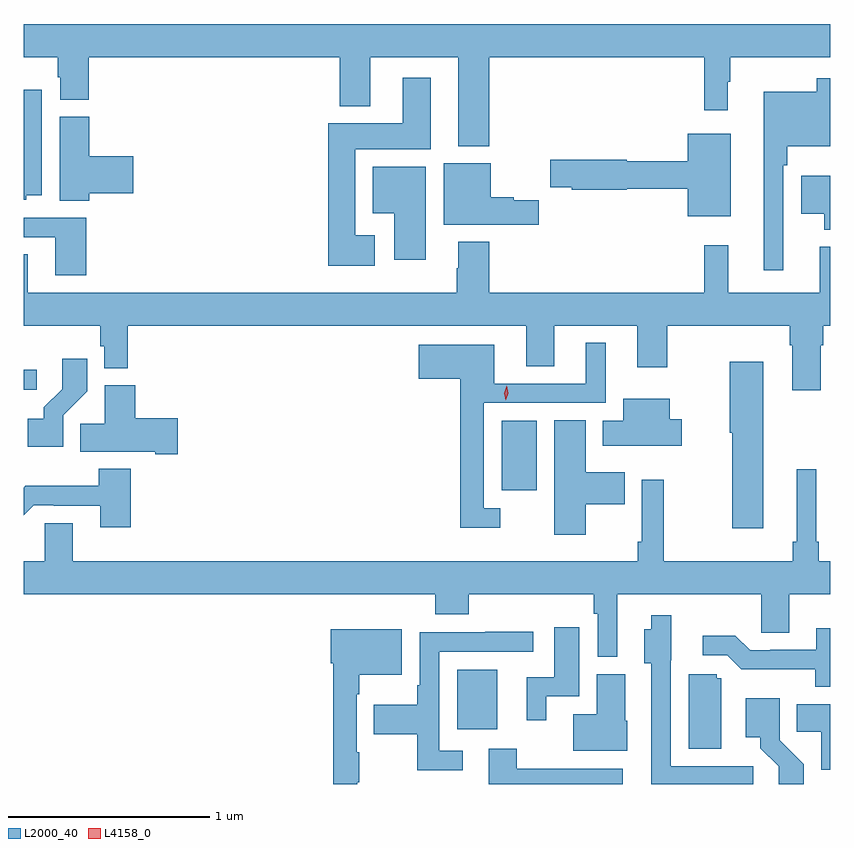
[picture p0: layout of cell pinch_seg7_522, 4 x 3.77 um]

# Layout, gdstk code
import gdstk
lib = gdstk.Library(unit=1e-6, precision=1e-09)
def R(c, l, rs):  # rectangles x0, y0, x1, y1
    for r in rs: c.add(gdstk.rectangle(r[:2], r[2:], *l))
def P(c, l, *ps):  # polygons
    for p in ps: c.add(gdstk.Polygon(p, *l))
L2000_40 = (2000, 40)
L4158_0 = (4158, 0)

pinch_seg7_522 = lib.new_cell('pinch_seg7_522')
R(pinch_seg7_522, L2000_40, [(121.145,1059.887,121.345,1060.183), (121.367,1061.072,121.54,1061.416), (118.996,1061.571,119.062,1061.67)])
P(pinch_seg7_522, L2000_40, [(121.304,1063.22),(122.371,1063.22),(122.371,1062.957),(122.488,1062.957),(122.488,1063.097),(122.5,1063.097),(122.5,1063.22),(122.996,1063.22),(122.996,1063.384),(118.996,1063.384),(118.996,1063.22),(119.165,1063.22),(119.165,1063.119),(119.177,1063.119),(119.177,1063.009),(119.318,1063.009),(119.318,1063.22),(120.563,1063.22),(120.563,1062.977),(120.715,1062.977),(120.715,1063.22),(121.151,1063.22),(121.151,1062.779),(121.304,1062.779)],
  [(120.736,1062.337),(120.64,1062.337),(120.64,1062.764),(121.015,1062.764),(121.015,1063.117),(120.875,1063.117),(120.875,1062.892),(120.506,1062.892),(120.506,1062.185),(120.736,1062.185)],
  [(122.763,1062.683),(122.783,1062.683),(122.783,1062.779),(122.996,1062.779),(122.996,1063.114),(122.928,1063.114),(122.928,1063.048),(122.666,1063.048),(122.666,1062.162),(122.763,1062.162)],
  [(119.01,1062.536),(119.086,1062.536),(119.086,1063.057),(118.996,1063.057),(118.996,1062.512),(119.01,1062.512)],
  [(119.321,1062.545),(119.539,1062.545),(119.539,1062.728),(119.321,1062.728),(119.321,1062.924),(119.174,1062.924),(119.174,1062.508),(119.321,1062.508)],
  [(122.503,1062.841),(122.288,1062.841),(122.288,1062.704),(121.986,1062.704),(121.986,1062.71),(121.606,1062.71),(121.606,1062.575),(121.714,1062.575),(121.714,1062.563),(121.986,1062.563),(121.986,1062.568),(122.288,1062.568),(122.288,1062.431),(122.503,1062.431)],
  [(121.55,1062.511),(121.425,1062.511),(121.425,1062.524),(121.312,1062.524),(121.312,1062.694),(121.079,1062.694),(121.079,1062.389),(121.55,1062.389)],
  [(120.991,1062.676),(120.728,1062.676),(120.728,1062.446),(120.833,1062.446),(120.833,1062.216),(120.991,1062.216)],
  [(122.996,1062.631),(122.852,1062.631),(122.852,1062.443),(122.966,1062.443),(122.966,1062.365),(122.996,1062.365)],
  [(119.306,1062.423),(118.996,1062.423),(118.996,1062.327),(119.153,1062.327),(119.153,1062.138),(119.306,1062.138)],
  [(122.947,1061.792),(122.96,1061.792),(122.96,1061.888),(122.996,1061.888),(122.996,1062.28),(122.942,1062.28),(122.942,1062.052),(122.489,1062.052),(122.489,1062.286),(122.371,1062.286),(122.371,1062.052),(121.304,1062.052),(121.304,1062.304),(121.151,1062.304),(121.151,1062.173),(121.144,1062.173),(121.144,1062.052),(119.017,1062.052),(119.017,1062.242),(118.996,1062.242),(118.996,1061.888),(119.377,1061.888),(119.377,1061.787),(119.397,1061.787),(119.397,1061.678),(119.513,1061.678),(119.513,1061.888),(121.487,1061.888),(121.487,1061.686),(121.627,1061.686),(121.627,1061.888),(122.039,1061.888),(122.039,1061.682),(122.187,1061.682),(122.187,1061.888),(122.795,1061.888),(122.795,1061.792),(122.807,1061.792),(122.807,1061.568),(122.947,1061.568)],
  [(121.36,1060.983),(121.278,1060.983),(121.278,1061.505),(121.882,1061.505),(121.882,1061.803),(121.784,1061.803),(121.784,1061.601),(121.33,1061.601),(121.33,1061.794),(120.954,1061.794),(120.954,1061.624),(121.162,1061.624),(121.162,1060.886),(121.36,1060.886)],
  [(119.193,1061.443),(119.312,1061.562),(119.312,1061.725),(119.187,1061.725),(119.187,1061.573),(119.096,1061.483),(119.096,1061.428),(119.016,1061.428),(119.016,1061.288),(119.193,1061.288)],
  [(122.662,1061.71),(122.498,1061.71),(122.498,1061.358),(122.509,1061.358),(122.509,1060.884),(122.662,1060.884)],
  [(119.761,1061.43),(119.549,1061.43),(119.549,1061.593),(119.399,1061.593),(119.399,1061.402),(119.278,1061.402),(119.278,1061.264),(119.648,1061.264),(119.648,1061.252),(119.761,1061.252)],
  [(122.26,1061.424),(122.2,1061.424),(122.2,1061.527),(121.97,1061.527),(121.97,1061.416),(121.868,1061.416),(121.868,1061.294),(122.26,1061.294)],
  [(121.783,1061.003),(121.976,1061.003),(121.976,1061.161),(121.783,1061.161),(121.783,1061.42),(121.628,1061.42),(121.628,1060.851),(121.783,1060.851)],
  [(119.528,1061.179),(119.368,1061.179),(119.368,1061.095),(119.005,1061.095),(118.996,1061.086),(118.996,1060.948),(119.046,1060.998),(119.146,1060.998),(119.146,1060.995),(119.375,1060.995),(119.375,1060.89),(119.528,1060.89)],
  [(121.939,1060.556),(122.652,1060.556),(122.652,1060.366),(122.791,1060.366),(122.791,1060.556),(122.996,1060.556),(122.996,1060.72),(122.939,1060.72),(122.939,1060.816),(122.925,1060.816),(122.925,1061.176),(122.828,1061.176),(122.828,1060.816),(122.809,1060.816),(122.809,1060.72),(122.17,1060.72),(122.17,1061.125),(122.061,1061.125),(122.061,1060.816),(122.041,1060.816),(122.041,1060.72),(119.239,1060.72),(119.239,1060.91),(119.1,1060.91),(119.1,1060.72),(118.996,1060.72),(118.996,1060.556),(121.037,1060.556),(121.037,1060.457),(121.202,1060.457),(121.202,1060.556),(121.822,1060.556),(121.822,1060.46),(121.842,1060.46),(121.842,1060.248),(121.939,1060.248)],
  [(122.614,1059.705),(122.205,1059.705),(122.205,1060.23),(122.206,1060.23),(122.206,1060.453),(122.108,1060.453),(122.108,1060.384),(122.072,1060.384),(122.072,1060.214),(122.109,1060.214),(122.109,1059.616),(122.614,1059.616)],
  [(121.588,1060.05),(121.75,1060.05),(121.75,1060.393),(121.628,1060.393),(121.628,1060.146),(121.49,1060.146),(121.49,1059.933),(121.588,1059.933)],
  [(122.996,1060.387),(122.927,1060.387),(122.927,1060.281),(122.698,1060.281),(122.698,1060.278),(122.598,1060.278),(122.525,1060.351),(122.364,1060.351),(122.364,1060.254),(122.484,1060.254),(122.555,1060.184),(122.92,1060.184),(122.92,1060.097),(122.996,1060.097)],
  [(120.65,1059.625),(120.661,1059.625),(120.661,1059.773),(120.648,1059.773),(120.648,1060.061),(120.661,1060.061),(120.661,1060.157),(120.871,1060.157),(120.871,1060.384),(120.518,1060.384),(120.518,1060.214),(120.532,1060.214),(120.532,1059.616),(120.65,1059.616)],
  [(121.174,1059.78),(121.056,1059.78),(121.056,1060.272),(121.522,1060.272),(121.522,1060.37),(121.285,1060.37),(121.285,1060.368),(120.96,1060.368),(120.96,1060.105),(120.948,1060.105),(120.948,1060.009),(120.733,1060.009),(120.733,1059.862),(120.948,1059.862),(120.948,1059.683),(121.174,1059.683)],
  [(122.455,1060.14),(122.433,1060.14),(122.433,1060.161),(122.294,1060.161),(122.294,1059.792),(122.455,1059.792)],
  [(121.99,1059.93),(121.978,1059.93),(121.978,1060.159),(121.838,1060.159),(121.838,1059.961),(121.721,1059.961),(121.721,1059.782),(121.99,1059.782)],
  [(122.864,1059.714),(122.745,1059.833),(122.745,1060.042),(122.576,1060.042),(122.576,1059.848),(122.648,1059.848),(122.648,1059.793),(122.739,1059.703),(122.739,1059.616),(122.864,1059.616)],
  [(122.996,1060.012),(122.83,1060.012),(122.83,1059.874),(122.951,1059.874),(122.951,1059.686),(122.996,1059.686)],
  [(121.966,1059.691),(121.441,1059.691),(121.441,1059.79),(121.301,1059.79),(121.301,1059.616),(121.966,1059.616)])
P(pinch_seg7_522, L4158_0, [(121.387,1061.518),(121.387,1061.518),(121.379,1061.554),(121.392,1061.59),(121.392,1061.59),(121.392,1061.59),(121.399,1061.553),(121.387,1061.518)])

lib.write_gds('pinch_seg7_522.gds')
